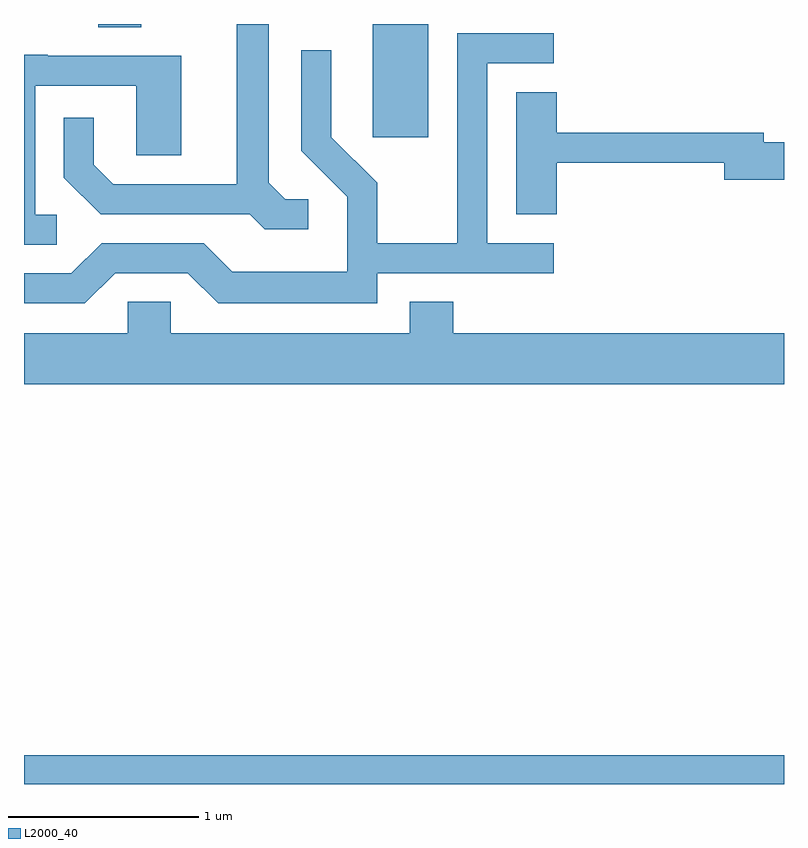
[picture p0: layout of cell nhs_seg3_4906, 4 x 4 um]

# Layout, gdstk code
import gdstk
lib = gdstk.Library(unit=1e-6, precision=1e-09)
def R(c, l, rs):  # rectangles x0, y0, x1, y1
    for r in rs: c.add(gdstk.rectangle(r[:2], r[2:], *l))
def P(c, l, *ps):  # polygons
    for p in ps: c.add(gdstk.Polygon(p, *l))
L2000_40 = (2000, 40)

nhs_seg3_4906 = lib.new_cell('nhs_seg3_4906')
R(nhs_seg3_4906, L2000_40, [(329.611,1143.892,333.611,1144.044), (331.446,1147.296,331.739,1147.892), (330.001,1147.876,330.229,1147.892)])
P(nhs_seg3_4906, L2000_40, [(331.108,1146.969),(330.987,1146.969),(330.899,1147.057),(330.899,1147.892),(330.731,1147.892),(330.731,1147.049),(330.082,1147.049),(329.979,1147.152),(329.979,1147.398),(329.821,1147.398),(329.821,1147.084),(330.014,1146.891),(330.799,1146.891),(330.879,1146.811),(331.108,1146.811)],
  [(330.092,1146.581),(330.474,1146.581),(330.634,1146.421),(331.469,1146.421),(331.469,1146.581),(332.398,1146.581),(332.398,1146.739),(332.049,1146.739),(332.049,1147.686),(332.398,1147.686),(332.398,1147.844),(331.891,1147.844),(331.891,1146.739),(331.469,1146.739),(331.469,1147.057),(331.229,1147.297),(331.229,1147.753),(331.071,1147.753),(331.071,1147.224),(331.311,1146.984),(331.311,1146.589),(330.707,1146.589),(330.557,1146.739),(330.019,1146.739),(329.859,1146.579),(329.611,1146.579),(329.611,1146.421),(329.932,1146.421)],
  [(329.783,1146.889),(329.669,1146.889),(329.669,1147.566),(330.201,1147.566),(330.201,1147.201),(330.439,1147.201),(330.439,1147.724),(329.735,1147.724),(329.735,1147.729),(329.611,1147.729),(329.611,1146.731),(329.783,1146.731)],
  [(332.414,1147.161),(333.296,1147.161),(333.296,1147.071),(333.611,1147.071),(333.611,1147.269),(333.504,1147.269),(333.504,1147.319),(332.414,1147.319),(332.414,1147.534),(332.201,1147.534),(332.201,1146.891),(332.414,1146.891)],
  [(333.611,1146.264),(331.869,1146.264),(331.869,1146.429),(331.641,1146.429),(331.641,1146.264),(330.384,1146.264),(330.384,1146.429),(330.156,1146.429),(330.156,1146.264),(329.611,1146.264),(329.611,1145.996),(333.611,1145.996)])

lib.write_gds('nhs_seg3_4906.gds')
